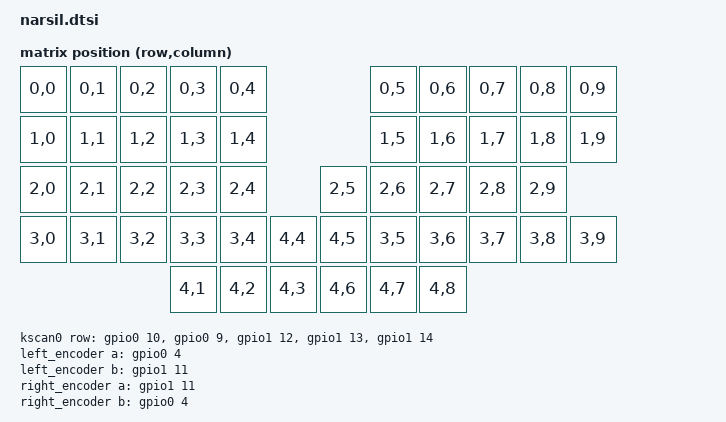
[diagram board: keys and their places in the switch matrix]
/*
 * Copyright (c) 2023 The ZMK Contributors
 *
 * SPDX-License-Identifier: MIT
 */
 
#include <dt-bindings/zmk/matrix_transform.h>

/ {
	chosen {
		zmk,kscan = &kscan0;
		zmk,matrix_transform = &default_transform;
	};

	default_transform: keymap_transform_0 {
		compatible = "zmk,matrix-transform";
		columns = <10>;
		rows = <5>;
// | SW1  | SW2  | SW3  | SW4  | SW5  |                         | SW5  | SW4  | SW3  | SW2  | SW1  |
// | SW6  | SW7  | SW8  | SW9  | SW10 |                         | SW10 | SW9  | SW8  | SW7  | SW6  |
// | SW11 | SW12 | SW13 | SW14 | SW15 |                         | SW15 | SW14 | SW13 | SW12 | SW11 | 
// | SW16 | SW17 | SW18 | SW19 | SW20 | SW24 |           | SW24 | SW20 | SW19 | SW18 | SW17 | SW16 | 
// 			| SW21 | SW22 | SW23 |	         | SW23 | SW22 | SW21 | 
		map = <
RC(0,0) RC(0,1) RC(0,2) RC(0,3) RC(0,4)                    	RC(0,5) RC(0,6) RC(0,7) RC(0,8) RC(0,9)  
RC(1,0) RC(1,1) RC(1,2) RC(1,3) RC(1,4)                    	RC(1,5) RC(1,6) RC(1,7) RC(1,8) RC(1,9)
RC(2,0) RC(2,1) RC(2,2) RC(2,3) RC(2,4) 		   	RC(2,5) RC(2,6) RC(2,7) RC(2,8) RC(2,9)
RC(3,0) RC(3,1) RC(3,2) RC(3,3) RC(3,4) RC(4,4)    	RC(4,5)	RC(3,5) RC(3,6) RC(3,7) RC(3,8) RC(3,9)
                        RC(4,1) RC(4,2) RC(4,3)	   	RC(4,6)	RC(4,7) RC(4,8)
		>;
	};

	kscan0: kscan {
		compatible = "zmk,kscan-gpio-matrix";

		diode-direction = "col2row";
	row-gpios
	    = <&gpio0 10 (GPIO_ACTIVE_HIGH | GPIO_PULL_DOWN)>
            , <&gpio0 9  (GPIO_ACTIVE_HIGH | GPIO_PULL_DOWN)> //&gpio0 5 for spare, marked "res"
            , <&gpio1 12 (GPIO_ACTIVE_HIGH | GPIO_PULL_DOWN)>
            , <&gpio1 13 (GPIO_ACTIVE_HIGH | GPIO_PULL_DOWN)>
            , <&gpio1 14 (GPIO_ACTIVE_HIGH | GPIO_PULL_DOWN)>
            ;
		
	};
	    left_encoder: encoder_left {
        	compatible = "alps,ec11";
        	a-gpios = <&gpio0 4  (GPIO_ACTIVE_HIGH | GPIO_PULL_UP)>;
        	b-gpios = <&gpio1 11 (GPIO_ACTIVE_HIGH | GPIO_PULL_UP)>;
        	steps = <20>;
          status = "disabled";
    	      };

		right_encoder: encoder_right {
        	compatible = "alps,ec11";
			a-gpios = <&gpio1 11 (GPIO_ACTIVE_HIGH | GPIO_PULL_UP)>;
			b-gpios = <&gpio0 4  (GPIO_ACTIVE_HIGH | GPIO_PULL_UP)>;
			steps = <20>;
     	status = "disabled";
             };

	sensors {
        	compatible = "zmk,keymap-sensors";
        	sensors = <&left_encoder &right_encoder>;
        	triggers-per-rotation = <20>;
    		};

};
/ {
    aliases {
        led-red = &led0;
        led-green = &led1;
        led-blue = &led2;
    };

    leds {
        compatible = "gpio-leds";
        status = "okay";
        led0: led_0 {
            gpios = <&gpio0 26 GPIO_ACTIVE_LOW>;  // red LED, connected to P0.26
        };
        led1: led_1 {
            gpios = <&gpio0 30 GPIO_ACTIVE_LOW>;  // green LED, connected to P0.30
        };
        led2: led_2 {
            gpios = <&gpio0 6 GPIO_ACTIVE_LOW>;  // blue LED, connected to P0.06
        };
    };
};
